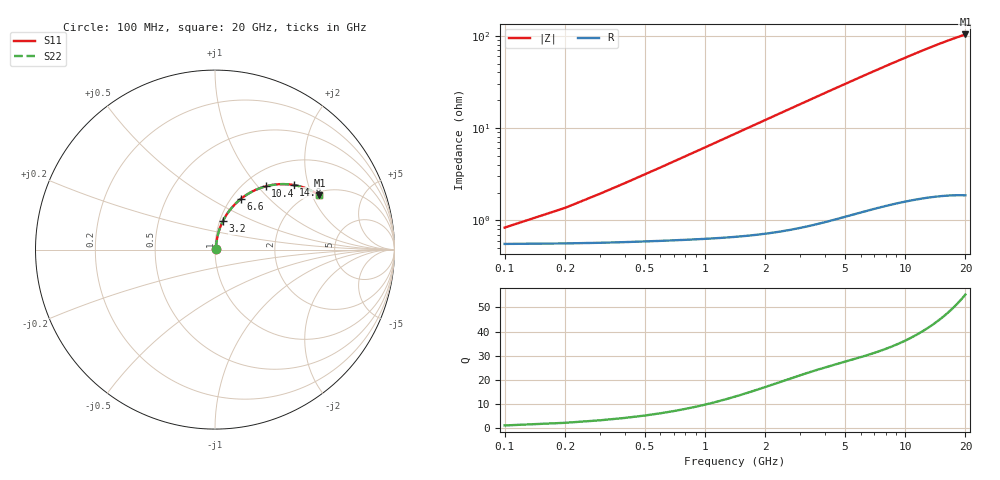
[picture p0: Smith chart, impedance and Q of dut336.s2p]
! Touchstone file exported from HFSS 2026.1.0
!  File:  C:/ffzhzh/LocalFiles/Ansys_Project_Files/temp_train_BSMRDL_336_1783011101_4048.aedt
!  Generated:  12:53:25 AM Jul  3, 2026
!  Design:  BSMRDL
!  Project:  temp_train_BSMRDL_336_1783011101_4048
! Variables:
!  h_bsmrdl = 5.4um
!  h_ox = 20um
!  h_rdl = 5um
!  h_sub = 80um
!  h_tmrdl = 5um
!  h_tsv = 80um
!  h_via = 3um
!  l_bsmrdl = 876.66um
!  l_sub = 1276.66um
!  l_tmrdl = 200um
!  m_sub = 200um
!  pitch = 59.11um
!  r_tsv = 6um
!  s_tmrdl = 10um
!  w_bsmrdl = 10.33um
!  w_sub = 500um
!  w_tmrdl = 12um
!  x_tsv_center1 = 206um
!  x_tsv_center2 = 1092.99um
!  x_tsv_center3 = 1304.99um
!  x_tsv_center4 = 2191.98um
!  x_tsv_center5 = 2403.98um
!  x_tsv_center6 = 3290.97um
# GHz S MA R 50.000000
! Terminal data exported
! Port[1] = BSM_RDL1_1_T1
! Port[2] = BSM_RDL1_1_T2
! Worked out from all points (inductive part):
!   200 points, 100 MHz to 20 GHz, reference 50 ohm
!   read as one part in series: L = 983 pH near 300 MHz
!   highest Q = 55.3 at 20 GHz (marker M1), where L = 821 pH
!   S11 on the Smith chart (normalised r, x): 100 MHz: 1.01, +0.01; 3.2 GHz: 1.04, +0.34; 6.6 GHz: 1.11, +0.69; 10.4 GHz: 1.25, +1.10; 14.8 GHz: 1.52, +1.62; 20 GHz: 2.13, +2.27
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0.1  0.007691 43.8  0.9945 -0.4  0.9945 -0.4  0.007692 43.8
! Gamma 0 0 0 0
! Port Impedance 50 0 50 0
0.2  0.01206 61.6  0.9944 -0.8  0.9944 -0.8  0.01206 61.6
0.3  0.01697 69.3  0.9942 -1.2  0.9942 -1.2  0.01697 69.3
0.4  0.02202 73.2  0.994 -1.6  0.994 -1.6  0.02202 73.2
0.5  0.02713 75.5  0.9938 -2.0  0.9938 -2.0  0.02713 75.5
0.7  0.03741 77.9  0.9933 -2.8  0.9933 -2.8  0.03741 77.9
1  0.05286 79.3  0.9924 -4.0  0.9924 -4.0  0.05286 79.2
1.4  0.07344 79.4  0.9908 -5.5  0.9908 -5.5  0.07344 79.4
1.9  0.09898 78.5  0.9881 -7.5  0.9881 -7.5  0.09898 78.5
2.5  0.1292 76.9  0.9841 -9.8  0.9841 -9.8  0.1292 76.8
3.2  0.1637 74.6  0.9782 -12.5  0.9782 -12.5  0.1637 74.6
3.5  0.1782 73.6  0.9753 -13.6  0.9753 -13.6  0.1782 73.6
4.9  0.2432 68.8  0.9597 -18.8  0.9597 -18.8  0.2432 68.8
6.6  0.3159 63.1  0.9368 -24.7  0.9368 -24.7  0.3159 63.1
6.8  0.324 62.4  0.9339 -25.4  0.9339 -25.4  0.324 62.4
8.3  0.3813 57.6  0.9112 -30.4  0.9112 -30.4  0.3813 57.6
10.1  0.4427 52.1  0.8825 -36.0  0.8825 -36.0  0.4427 52.1
10.4  0.4522 51.3  0.8776 -36.9  0.8776 -36.9  0.4522 51.2
13.4  0.5352 43.0  0.8298 -45.5  0.8298 -45.5  0.5352 42.9
14.8  0.5673 39.4  0.8085 -49.1  0.8085 -49.1  0.5673 39.3
16.7  0.6048 34.8  0.7814 -53.8  0.7814 -53.8  0.6048 34.7
20  0.656 27.5  0.7401 -61.3  0.7401 -61.3  0.656 27.4
